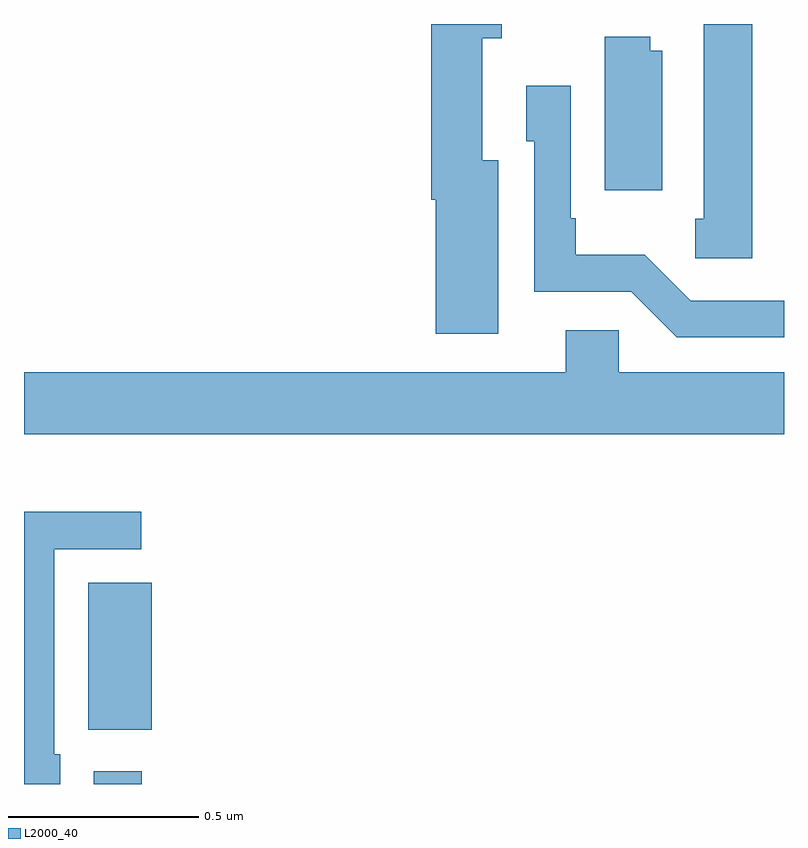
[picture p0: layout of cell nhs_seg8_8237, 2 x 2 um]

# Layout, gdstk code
import gdstk
lib = gdstk.Library(unit=1e-6, precision=1e-09)
def R(c, l, rs):  # rectangles x0, y0, x1, y1
    for r in rs: c.add(gdstk.rectangle(r[:2], r[2:], *l))
def P(c, l, *ps):  # polygons
    for p in ps: c.add(gdstk.Polygon(p, *l))
L2000_40 = (2000, 40)

nhs_seg8_8237 = lib.new_cell('nhs_seg8_8237')
R(nhs_seg8_8237, L2000_40, [(220.184,1128.9,220.31,1128.934), (220.169,1129.043,220.336,1129.429)])
P(nhs_seg8_8237, L2000_40, [(221.917,1130.9),(221.789,1130.9),(221.789,1130.388),(221.767,1130.388),(221.767,1130.283),(221.917,1130.283)],
  [(221.248,1130.542),(221.206,1130.542),(221.206,1130.863),(221.257,1130.863),(221.257,1130.9),(221.072,1130.9),(221.072,1130.438),(221.084,1130.438),(221.084,1130.085),(221.248,1130.085)],
  [(221.68,1130.83),(221.648,1130.83),(221.648,1130.867),(221.528,1130.867),(221.528,1130.463),(221.68,1130.463)],
  [(222,1130.172),(221.754,1130.172),(221.633,1130.293),(221.452,1130.293),(221.452,1130.389),(221.439,1130.389),(221.439,1130.737),(221.322,1130.737),(221.322,1130.592),(221.343,1130.592),(221.343,1130.196),(221.598,1130.196),(221.718,1130.076),(222,1130.076)],
  [(222,1129.984),(221.565,1129.984),(221.565,1130.094),(221.426,1130.094),(221.426,1129.984),(220,1129.984),(220,1129.82),(222,1129.82)],
  [(220.096,1128.978),(220.08,1128.978),(220.08,1129.518),(220.309,1129.518),(220.309,1129.616),(220,1129.616),(220,1128.9),(220.096,1128.9)])

lib.write_gds('nhs_seg8_8237.gds')
